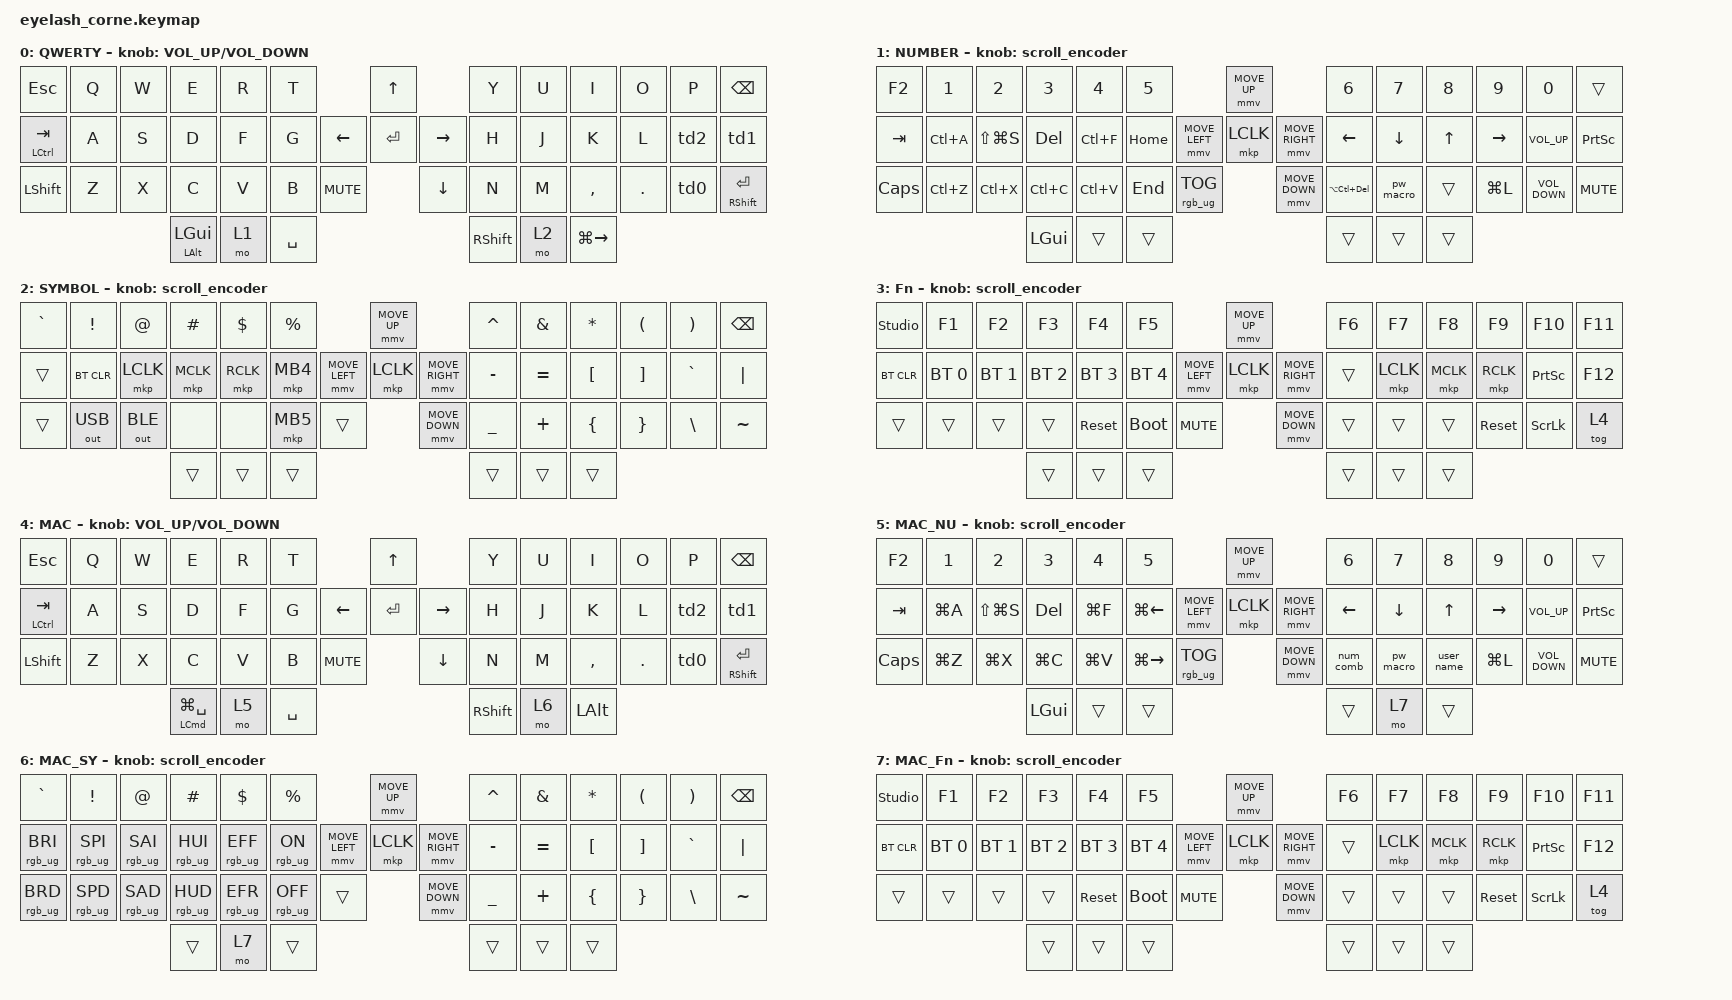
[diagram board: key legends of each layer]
#include <dt-bindings/zmk/mouse.h>
#include <input/processors.dtsi>
#include <behaviors.dtsi>
#include <dt-bindings/zmk/bt.h>
#include <dt-bindings/zmk/keys.h>
#include <dt-bindings/zmk/outputs.h>
#include <dt-bindings/zmk/pointing.h>
#include <dt-bindings/zmk/rgb.h>

/*

   &mmv_input_listener {
       input-processors = <&zip_xy_scaler 2 1>;
   };

   &msc_input_listener {
       input-processors = <&zip_xy_scaler 2 1>;
   };

 */

#define ZMK_MOUSE_DEFAULT_MOVE_VAL 1200  // 600
#define ZMK_MOUSE_DEFAULT_SCRL_VAL 20    // 10

/ {
    behaviors {
        td0: td0 {
            compatible = "zmk,behavior-tap-dance";
            display-name = "Shift/Caps Lock Tap Dance";
            #binding-cells = <0>;
            bindings = <&kp FSLH>, <&kp QMARK>;
        };

        td1: td1 {
            compatible = "zmk,behavior-tap-dance";
            label = "TD1";
            #binding-cells = <0>;
            bindings = <&kp SQT>, <&kp DQT>;
        };

        td2: td2 {
            compatible = "zmk,behavior-tap-dance";
            label = "TD2";
            #binding-cells = <0>;
            bindings = <&kp SEMI>, <&kp COLON>;
        };

        td4: td4 {
            compatible = "zmk,behavior-tap-dance";
            label = "TD4";
            #binding-cells = <0>;
            bindings = <&mt LALT LGUI>, <&kp LGUI>;
        };
    };

    rgb_encoder: rgb_encoder {
        compatible = "zmk,behavior-sensor-rotate";
        #sensor-binding-cells = <0>;
        bindings = <&rgb_ug RGB_BRI>, <&rgb_ug RGB_BRD>;
    };

    scroll_encoder: scroll_encoder {
        compatible = "zmk,behavior-sensor-rotate";
        #sensor-binding-cells = <0>;
        bindings = <&msc SCRL_DOWN>, <&msc SCRL_UP>;

        tap-ms = <30>;
    };

    macros {
        pw_macro: pw_macro {
            compatible = "zmk,behavior-macro";
            #binding-cells = <0>;
            bindings = <&kp LS(Z) &kp X &kp W &kp E &kp N5 &kp N6 &kp N3 &kp N4 &kp EXCL>;
            label = "PW_MACRO";
        };

        num_comb: num_comb {
            compatible = "zmk,behavior-macro";
            #binding-cells = <0>;
            bindings = <&kp N5 &kp N6 &kp N3 &kp N4>;
            label = "NUM_COMB";
        };

        user_name: user_name {
            compatible = "zmk,behavior-macro";
            #binding-cells = <0>;
            bindings = <&none &kp D &kp A &kp N &kp I &kp E &kp L &kp DOT &kp H &kp E &kp R &kp N &kp A &kp N &kp D &kp E &kp Z &kp N1>;
            label = "USER_NAME";
        };
    };

    keymap {
        compatible = "zmk,keymap";

        default_layer {
            display-name = "QWERTY";
            bindings = <
&kp ESCAPE     &kp Q  &kp W  &kp E          &kp R  &kp T                              &kp UP                &kp Y            &kp U  &kp I          &kp O    &kp P  &kp BSPC
&mt LCTRL TAB  &kp A  &kp S  &kp D          &kp F  &kp G                    &kp LEFT  &kp ENTER  &kp RIGHT  &kp H            &kp J  &kp K          &kp L    &td2   &td1
&kp LSHFT      &kp Z  &kp X  &kp C          &kp V  &kp B      &kp C_MUTE              &kp DOWN              &kp N            &kp M  &kp COMMA      &kp DOT  &td0   &mt RIGHT_SHIFT ENTER
                             &mt LALT LGUI  &mo 1  &kp SPACE                                                &kp RIGHT_SHIFT  &mo 2  &kp LG(RIGHT)
            >;

            sensor-bindings = <&inc_dec_kp C_VOLUME_UP C_VOLUME_DOWN>;
        };

        lower_layer {
            display-name = "NUMBER";
            bindings = <
&kp F2    &kp N1     &kp N2         &kp N3     &kp N4     &kp N5                                       &mmv MOVE_UP                     &kp N6           &kp N7     &kp N8  &kp N9     &kp N0             &trans
&kp TAB   &kp LC(A)  &kp LS(LG(S))  &kp DEL    &kp LC(F)  &kp HOME                     &mmv MOVE_LEFT  &mkp LCLK       &mmv MOVE_RIGHT  &kp LEFT         &kp DOWN   &kp UP  &kp RIGHT  &kp C_VOLUME_UP    &kp PRINTSCREEN
&kp CAPS  &kp LC(Z)  &kp LC(X)      &kp LC(C)  &kp LC(V)  &kp END   &rgb_ug RGB_TOG                    &mmv MOVE_DOWN                   &kp LA(LC(DEL))  &pw_macro  &trans  &kp LG(L)  &kp C_VOLUME_DOWN  &kp C_MUTE
                                    &kp LGUI   &trans     &trans                                                                        &trans           &trans     &trans
            >;

            sensor-bindings = <&scroll_encoder>;
        };

        raise_layer {
            display-name = "SYMBOL";
            bindings = <
&kp GRAVE  &kp EXCL      &kp AT        &kp HASH   &kp DLLR   &kp PRCNT                            &mmv MOVE_UP                     &kp CARET  &kp AMPS   &kp ASTRK  &kp LPAR  &kp RPAR       &kp BSPC
&trans     &bt BT_CLR    &mkp LCLK     &mkp MCLK  &mkp RCLK  &mkp MB4             &mmv MOVE_LEFT  &mkp LCLK       &mmv MOVE_RIGHT  &kp MINUS  &kp EQUAL  &kp LBKT   &kp RBKT  &kp GRAVE      &kp PIPE
&trans     &out OUT_USB  &out OUT_BLE  &none      &none      &mkp MB5   &trans                    &mmv MOVE_DOWN                   &kp UNDER  &kp PLUS   &kp LBRC   &kp RBRC  &kp BACKSLASH  &kp TILDE
                                       &trans     &trans     &trans                                                                &trans     &trans     &trans
            >;

            sensor-bindings = <&scroll_encoder>;
        };

        adjust {
            display-name = "Fn";
            bindings = <
&studio_unlock  &kp F1        &kp F2        &kp F3        &kp F4        &kp F5                                      &mmv MOVE_UP                     &kp F6  &kp F7     &kp F8     &kp F9      &kp F10          &kp F11
&bt BT_CLR      &bt BT_SEL 0  &bt BT_SEL 1  &bt BT_SEL 2  &bt BT_SEL 3  &bt BT_SEL 4                &mmv MOVE_LEFT  &mkp LCLK       &mmv MOVE_RIGHT  &trans  &mkp LCLK  &mkp MCLK  &mkp RCLK   &kp PRINTSCREEN  &kp F12
&trans          &trans        &trans        &trans        &sys_reset    &bootloader   &kp C_MUTE                    &mmv MOVE_DOWN                   &trans  &trans     &trans     &sys_reset  &kp SCROLLLOCK   &tog 4
                                            &trans        &trans        &trans                                                                       &trans  &trans     &trans
            >;

            sensor-bindings = <&scroll_encoder>;
        };

        ////////////////////
        // Mac mode
        ////////////////////

        mac_mode_layer {
            display-name = "MAC";
            bindings = <
&kp ESCAPE     &kp Q  &kp W  &kp E               &kp R  &kp T                              &kp UP                &kp Y            &kp U  &kp I         &kp O    &kp P  &kp BSPC
&mt LCTRL TAB  &kp A  &kp S  &kp D               &kp F  &kp G                    &kp LEFT  &kp ENTER  &kp RIGHT  &kp H            &kp J  &kp K         &kp L    &td2   &td1
&kp LSHFT      &kp Z  &kp X  &kp C               &kp V  &kp B      &kp C_MUTE              &kp DOWN              &kp N            &kp M  &kp COMMA     &kp DOT  &td0   &mt RIGHT_SHIFT ENTER
                             &mt LCMD LG(SPACE)  &mo 5  &kp SPACE                                                &kp RIGHT_SHIFT  &mo 6  &kp LEFT_ALT
            >;

            sensor-bindings = <&inc_dec_kp C_VOLUME_UP C_VOLUME_DOWN>;
        };

        mac_lower_layer {
            display-name = "MAC_NU";
            bindings = <
&kp F2    &kp N1     &kp N2         &kp N3     &kp N4     &kp N5                                            &mmv MOVE_UP                     &kp N6     &kp N7     &kp N8      &kp N9     &kp N0             &trans
&kp TAB   &kp LG(A)  &kp LS(LG(S))  &kp DEL    &kp LG(F)  &kp LG(LEFT)                      &mmv MOVE_LEFT  &mkp LCLK       &mmv MOVE_RIGHT  &kp LEFT   &kp DOWN   &kp UP      &kp RIGHT  &kp C_VOLUME_UP    &kp PRINTSCREEN
&kp CAPS  &kp LG(Z)  &kp LG(X)      &kp LG(C)  &kp LG(V)  &kp LG(RIGHT)  &rgb_ug RGB_TOG                    &mmv MOVE_DOWN                   &num_comb  &pw_macro  &user_name  &kp LG(L)  &kp C_VOLUME_DOWN  &kp C_MUTE
                                    &kp LGUI   &trans     &trans                                                                             &trans     &mo 7      &trans
            >;

            sensor-bindings = <&scroll_encoder>;
        };

        mac_raise_layer {
            display-name = "MAC_SY";
            bindings = <
&kp GRAVE        &kp EXCL         &kp AT           &kp HASH         &kp DLLR         &kp PRCNT                                  &mmv MOVE_UP                     &kp CARET  &kp AMPS   &kp ASTRK  &kp LPAR  &kp RPAR       &kp BSPC
&rgb_ug RGB_BRI  &rgb_ug RGB_SPI  &rgb_ug RGB_SAI  &rgb_ug RGB_HUI  &rgb_ug RGB_EFF  &rgb_ug RGB_ON             &mmv MOVE_LEFT  &mkp LCLK       &mmv MOVE_RIGHT  &kp MINUS  &kp EQUAL  &kp LBKT   &kp RBKT  &kp GRAVE      &kp PIPE
&rgb_ug RGB_BRD  &rgb_ug RGB_SPD  &rgb_ug RGB_SAD  &rgb_ug RGB_HUD  &rgb_ug RGB_EFR  &rgb_ug RGB_OFF  &trans                    &mmv MOVE_DOWN                   &kp UNDER  &kp PLUS   &kp LBRC   &kp RBRC  &kp BACKSLASH  &kp TILDE
                                                   &trans           &mo 7            &trans                                                                      &trans     &trans     &trans
            >;

            sensor-bindings = <&scroll_encoder>;
        };

        mac_fn_3 {
            display-name = "MAC_Fn";
            bindings = <
&studio_unlock  &kp F1        &kp F2        &kp F3        &kp F4        &kp F5                                      &mmv MOVE_UP                     &kp F6  &kp F7     &kp F8     &kp F9      &kp F10          &kp F11
&bt BT_CLR      &bt BT_SEL 0  &bt BT_SEL 1  &bt BT_SEL 2  &bt BT_SEL 3  &bt BT_SEL 4                &mmv MOVE_LEFT  &mkp LCLK       &mmv MOVE_RIGHT  &trans  &mkp LCLK  &mkp MCLK  &mkp RCLK   &kp PRINTSCREEN  &kp F12
&trans          &trans        &trans        &trans        &sys_reset    &bootloader   &kp C_MUTE                    &mmv MOVE_DOWN                   &trans  &trans     &trans     &sys_reset  &kp SCROLLLOCK   &tog 4
                                            &trans        &trans        &trans                                                                       &trans  &trans     &trans
            >;

            sensor-bindings = <&scroll_encoder>;
        };
    };

    conditional_layers {
        compatible = "zmk,conditional-layers";

        tri_layer {
            if-layers = <1 2>;
            then-layer = <3>;
        };
    };
};
